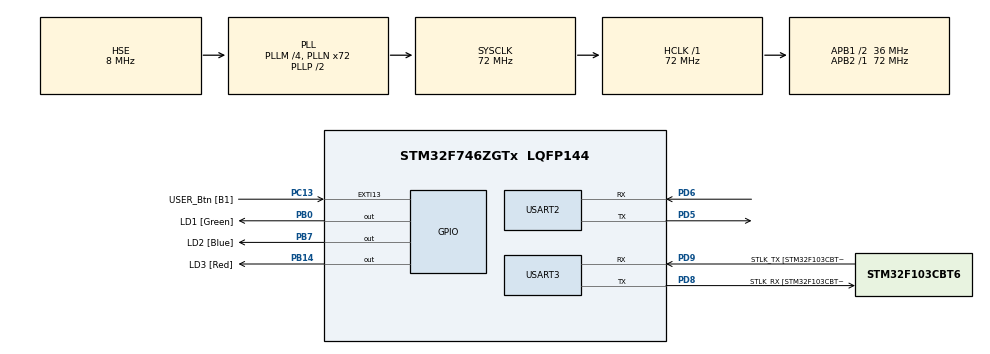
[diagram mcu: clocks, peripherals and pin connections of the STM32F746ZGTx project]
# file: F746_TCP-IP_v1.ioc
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Mcu.Family=STM32F7
Mcu.Name=STM32F746ZGTx
Mcu.Package=LQFP144
NVIC.PriorityGroup=NVIC_PRIORITYGROUP_4
PA13.GPIO_Label=TMS
PA13.Mode=Serial_Wire
PA13.Signal=SYS_JTMS-SWDIO
PA14.GPIO_Label=TCK
PA14.Mode=Serial_Wire
PA14.Signal=SYS_JTCK-SWCLK
PB0.GPIO_Label=LD1 [Green]
PB0.Signal=GPIO_Output
PB14.GPIO_Label=LD3 [Red]
PB14.Signal=GPIO_Output
PB3.GPIO_Label=SW0
PB3.Signal=SYS_JTDO-SWO
PB7.GPIO_Label=LD2 [Blue]
PB7.Signal=GPIO_Output
PC13.GPIO_Label=USER_Btn [B1]
PC13.Signal=GPXTI13
PC14/OSC32_IN.Mode=LSE-External-Oscillator
PC14/OSC32_IN.Signal=RCC_OSC32_IN
PC15/OSC32_OUT.Mode=LSE-External-Oscillator
PC15/OSC32_OUT.Signal=RCC_OSC32_OUT
PD5.Mode=Asynchronous
PD5.Signal=USART2_TX
PD6.Mode=Asynchronous
PD6.Signal=USART2_RX
PD8.GPIO_Label=STLK_RX [STM32F103CBT6_PA3]
PD8.Mode=Asynchronous
PD8.Signal=USART3_TX
PD9.GPIO_Label=STLK_TX [STM32F103CBT6_PA2]
PD9.Mode=Asynchronous
PD9.Signal=USART3_RX
PH0/OSC_IN.GPIO_Label=MCO [STM32F103CBT6_PA8]
PH0/OSC_IN.Mode=HSE-External-Clock-Source
PH0/OSC_IN.Signal=RCC_OSC_IN
PH1/OSC_OUT.Mode=HSE-External-Clock-Source
PH1/OSC_OUT.Signal=RCC_OSC_OUT
ProjectManager.HeapSize=0x200
ProjectManager.StackSize=0x400
ProjectManager.TargetToolchain=STM32CubeIDE
RCC.48MHZClocksFreq_Value=24000000
RCC.AHBFreq_Value=72000000
RCC.APB1CLKDivider=RCC_HCLK_DIV2
RCC.APB1Freq_Value=36000000
RCC.APB1TimFreq_Value=72000000
RCC.APB2Freq_Value=72000000
RCC.APB2TimFreq_Value=72000000
RCC.CortexFreq_Value=72000000
RCC.HCLKFreq_Value=72000000
RCC.HSE_VALUE=8000000
RCC.HSI_VALUE=16000000
RCC.PLLM=4
RCC.PLLMUL=RCC_PLL_MUL9
RCC.PLLN=72
RCC.PLLQ=3
RCC.PLLSourceVirtual=RCC_PLLSOURCE_HSE
RCC.PRESCALERUSB=RCC_USBCLKSOURCE_PLL_DIV1_5
RCC.SYSCLKFreq_VALUE=72000000
RCC.SYSCLKSource=RCC_SYSCLKSOURCE_PLLCLK
RCC.SYSCLKSourceVirtual=RCC_SYSCLKSOURCE_PLLCLK
RCC.USBFreq_Value=48000000
RCC.VCOOutputFreq_Value=144000000
USART2.VirtualMode-Asynchronous=VM_ASYNC
USART3.VirtualMode-Asynchronous=VM_ASYNC
board=NUCLEO-F746ZG

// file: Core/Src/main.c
/* USER CODE BEGIN Header */
/**
  ******************************************************************************
  * @file           : main.c
  * @brief          : Main program body
  ******************************************************************************
  * @attention
  *
  * <h2><center>&copy; Copyright (c) 2022 STMicroelectronics.
  * All rights reserved.</center></h2>
  *
  * This software component is licensed by ST under BSD 3-Clause license,
  * the "License"; You may not use this file except in compliance with the
  * License. You may obtain a copy of the License at:
  *                        opensource.org/licenses/BSD-3-Clause
  *
  ******************************************************************************
  */
/* USER CODE END Header */
#include "main.h"

/* USER CODE BEGIN Includes */
#include <string.h>
#include "bg95.h"
/* USER CODE END Includes */

UART_HandleTypeDef huart2;
UART_HandleTypeDef huart3;

/* USER CODE BEGIN PV */

BG95_TypeDef bg95;
uint8_t resultCode[20];

/* USER CODE END PV */

void SystemClock_Config(void);
static void MX_GPIO_Init(void);
static void MX_USART3_UART_Init(void);
static void MX_USART2_UART_Init(void);

int main(void)
{

  /* MCU Configuration--------------------------------------------------------*/

  /* Reset of all peripherals, Initializes the Flash interface and the Systick. */
  HAL_Init();

  /* Configure the system clock */
  SystemClock_Config();

  /* Initialize all configured peripherals */
  MX_GPIO_Init();
  MX_USART3_UART_Init();
  MX_USART2_UART_Init();
  /* USER CODE BEGIN 2 */

  bg95.handler = &huart2;

  memset(resultCode,'R',20);

  uint8_t invalidResponseBuffer[BUFFER_SIZE];
  //bg95.invalidResponse = invalidResponseBuffer;

  while ( resetDevice(&bg95) != 0);							// RESET DEVICE FOR FASTER DEBUGGING
  initializeApp ();											/*!< Initializes the application.	 */

  uint8_t myData = 115;
  /* USER CODE END 2 */

  /* Infinite loop */
  /* USER CODE BEGIN WHILE */
  while (1)
  {
	  socketApp ( myData );									/*!< Checks socket and sends data	 */
	  myData += 5;
	  HAL_Delay(15000);
    /* USER CODE END WHILE */

  }
}

void SystemClock_Config(void)
{
  RCC_OscInitTypeDef RCC_OscInitStruct = {0};
  RCC_ClkInitTypeDef RCC_ClkInitStruct = {0};
  RCC_PeriphCLKInitTypeDef PeriphClkInitStruct = {0};

  /** Configure LSE Drive Capability
  */
  HAL_PWR_EnableBkUpAccess();
  /** Configure the main internal regulator output voltage
  */
  __HAL_RCC_PWR_CLK_ENABLE();
  __HAL_PWR_VOLTAGESCALING_CONFIG(PWR_REGULATOR_VOLTAGE_SCALE3);
  /** Initializes the RCC Oscillators according to the specified parameters
  * in the RCC_OscInitTypeDef structure.
  */
  RCC_OscInitStruct.OscillatorType = RCC_OSCILLATORTYPE_HSE;
  RCC_OscInitStruct.HSEState = RCC_HSE_BYPASS;
  RCC_OscInitStruct.PLL.PLLState = RCC_PLL_ON;
  RCC_OscInitStruct.PLL.PLLSource = RCC_PLLSOURCE_HSE;
  RCC_OscInitStruct.PLL.PLLM = 4;
  RCC_OscInitStruct.PLL.PLLN = 72;
  RCC_OscInitStruct.PLL.PLLP = RCC_PLLP_DIV2;
  RCC_OscInitStruct.PLL.PLLQ = 3;
  if (HAL_RCC_OscConfig(&RCC_OscInitStruct) != HAL_OK)
  {
    Error_Handler();
  }
  /** Initializes the CPU, AHB and APB buses clocks
  */
  RCC_ClkInitStruct.ClockType = RCC_CLOCKTYPE_HCLK|RCC_CLOCKTYPE_SYSCLK
                              |RCC_CLOCKTYPE_PCLK1|RCC_CLOCKTYPE_PCLK2;
  RCC_ClkInitStruct.SYSCLKSource = RCC_SYSCLKSOURCE_PLLCLK;
  RCC_ClkInitStruct.AHBCLKDivider = RCC_SYSCLK_DIV1;
  RCC_ClkInitStruct.APB1CLKDivider = RCC_HCLK_DIV2;
  RCC_ClkInitStruct.APB2CLKDivider = RCC_HCLK_DIV1;

  if (HAL_RCC_ClockConfig(&RCC_ClkInitStruct, FLASH_LATENCY_2) != HAL_OK)
  {
    Error_Handler();
  }
  PeriphClkInitStruct.PeriphClockSelection = RCC_PERIPHCLK_USART2|RCC_PERIPHCLK_USART3;
  PeriphClkInitStruct.Usart2ClockSelection = RCC_USART2CLKSOURCE_PCLK1;
  PeriphClkInitStruct.Usart3ClockSelection = RCC_USART3CLKSOURCE_PCLK1;
  if (HAL_RCCEx_PeriphCLKConfig(&PeriphClkInitStruct) != HAL_OK)
  {
    Error_Handler();
  }
}

static void MX_USART2_UART_Init(void)
{

  huart2.Instance = USART2;
  huart2.Init.BaudRate = 115200;
  huart2.Init.WordLength = UART_WORDLENGTH_8B;
  huart2.Init.StopBits = UART_STOPBITS_1;
  huart2.Init.Parity = UART_PARITY_NONE;
  huart2.Init.Mode = UART_MODE_TX_RX;
  huart2.Init.HwFlowCtl = UART_HWCONTROL_NONE;
  huart2.Init.OverSampling = UART_OVERSAMPLING_16;
  huart2.Init.OneBitSampling = UART_ONE_BIT_SAMPLE_DISABLE;
  huart2.AdvancedInit.AdvFeatureInit = UART_ADVFEATURE_NO_INIT;
  if (HAL_UART_Init(&huart2) != HAL_OK)
  {
    Error_Handler();
  }

}

static void MX_USART3_UART_Init(void)
{

  huart3.Instance = USART3;
  huart3.Init.BaudRate = 115200;
  huart3.Init.WordLength = UART_WORDLENGTH_8B;
  huart3.Init.StopBits = UART_STOPBITS_1;
  huart3.Init.Parity = UART_PARITY_NONE;
  huart3.Init.Mode = UART_MODE_TX_RX;
  huart3.Init.HwFlowCtl = UART_HWCONTROL_NONE;
  huart3.Init.OverSampling = UART_OVERSAMPLING_16;
  huart3.Init.OneBitSampling = UART_ONE_BIT_SAMPLE_DISABLE;
  huart3.AdvancedInit.AdvFeatureInit = UART_ADVFEATURE_NO_INIT;
  if (HAL_UART_Init(&huart3) != HAL_OK)
  {
    Error_Handler();
  }

}

static void MX_GPIO_Init(void)
{
  GPIO_InitTypeDef GPIO_InitStruct = {0};

  /* GPIO Ports Clock Enable */
  __HAL_RCC_GPIOC_CLK_ENABLE();
  __HAL_RCC_GPIOH_CLK_ENABLE();
  __HAL_RCC_GPIOB_CLK_ENABLE();
  __HAL_RCC_GPIOD_CLK_ENABLE();
  __HAL_RCC_GPIOA_CLK_ENABLE();

  /*Configure GPIO pin Output Level */
  HAL_GPIO_WritePin(GPIOB, LD1_Pin|LD3_Pin|LD2_Pin, GPIO_PIN_RESET);

  /*Configure GPIO pin : USER_Btn_Pin */
  GPIO_InitStruct.Pin = USER_Btn_Pin;
  GPIO_InitStruct.Mode = GPIO_MODE_IT_RISING;
  GPIO_InitStruct.Pull = GPIO_NOPULL;
  HAL_GPIO_Init(USER_Btn_GPIO_Port, &GPIO_InitStruct);

  /*Configure GPIO pins : LD1_Pin LD3_Pin LD2_Pin */
  GPIO_InitStruct.Pin = LD1_Pin|LD3_Pin|LD2_Pin;
  GPIO_InitStruct.Mode = GPIO_MODE_OUTPUT_PP;
  GPIO_InitStruct.Pull = GPIO_NOPULL;
  GPIO_InitStruct.Speed = GPIO_SPEED_FREQ_LOW;
  HAL_GPIO_Init(GPIOB, &GPIO_InitStruct);

}

/* USER CODE BEGIN 4 */

void USART2_IRQHandler (void) {
	/*********** STEPS FOLLOWED *************
	1. Check that interrupt is caused by RXNE
	2. If so read the data into the array member pointed by the pointer
	3. If interrupt is not caused by RXNE (which is not expected) run the ErrorHandler
	****************************************/

	if (USART2->ISR & USART_ISR_RXNE)
	{
		bg95.RxData.buffer[bg95.RxData.head] = USART2->RDR;
		bg95.RxData.head++;
		if (bg95.RxData.head == bg95.RxData.size) bg95.RxData.head = 0; // Circular buffer
	}
	else Error_Handler();
}

void initializeApp ( void )
{
	bg95.swState = 10;
	resultCode[0] = initDevice(&bg95);

	if ( resultCode[0] != 0 )
	{
	  app_Error_Handler( &bg95, &resultCode[0] );		// AT+CFUN=1 may response ERROR
	}

	bg95.swState = 20;
	resultCode[1] = getQgmr(&bg95);
	bg95.swState = 30;
	resultCode[2] = getCsq(&bg95);

	if ( (resultCode[2] != 0) || (bg95.csq.rssi == 0x52) || (bg95.csq.rssi == 99) )		/*!< 0x52: R : default app. reset value */
	{
	  app_Error_Handler( &bg95, &resultCode[2] );		// AT+CSQ may response two different ERRORs
	}

	bg95.swState = 40;
	resultCode[3] = sendWriteReceiveAtCommandT(&bg95, "CREG", "2", (uint8_t *) "AT+CREG\0", (uint8_t *) "OK\r\n\0", 350);  /*!< Max. spec. time 300 ms */

	if ( resultCode[3] != 0 )
	{
	  app_Error_Handler( &bg95, &resultCode[3] );		// AT+CREG=2 may response ERROR
	}

	resultCode[4] = getCreg(&bg95);

	if (bg95.creg.stat != 1)
	{
	  app_Error_Handler( &bg95, NULL );				// Device may not be registered to a home network
	}

	bg95.swState = 50;
	resultCode[5] = getCops(&bg95);

	if ( resultCode[5] != 0 )
	{
	  app_Error_Handler( &bg95, &resultCode[5] );		// AT+COPS? may response ERROR
	}

	bg95.swState = 60;
	resultCode[6] = setTcpIpContext(&bg95, 1, 1, "internet", "", "", 1);

	if ( resultCode[6] != 0 )
	{
	  app_Error_Handler( &bg95, &resultCode[6] );		// AT+QICSGP=... may response ERROR
	}

	/*! Activate PDP context with ID 1 				*/
	/*! Max. spec. time 150 s 						*/
	bg95.swState = 61;
	resultCode[7] = sendWriteReceiveAtCommandT(&bg95, "QIACT", "1", (uint8_t *) "AT+QIACT\0", (uint8_t *) "OK\r\n\0", 4000);

	if ( resultCode[7] != 0 )
	{
	  app_Error_Handler( &bg95, &resultCode[7] );		// AT+QIACT=1 may response ERROR
	}

	bg95.swState = 62;
	resultCode[8] = getQiact(&bg95);
	uint8_t size = strlen((char*)bg95.qiact.ip);
	uint8_t count = 0;
	for (int i=0; i<size; i++) if(bg95.qiact.ip[i] == 0x2E) count++; // 0x2E: .

	if( ( count != 3 ) || ( bg95.qiact.ip[0] == 0 ) || ( bg95.qiact.cState != 1 ) )
	{
	  app_Error_Handler( &bg95, NULL );				// IP may be unvalid or connection may not be established
	}
}

void socketApp ( uint8_t data )
{
	/*! Check for Internet connection. Check IP.			*/
	bg95.swState = 63;
	resultCode[8] = getQiact(&bg95);
	uint8_t size = strlen((char*)bg95.qiact.ip);
	uint8_t count = 0;
	for (int i=0; i<size; i++) if(bg95.qiact.ip[i] == 0x2E) count++; // 0x2E: .

	if( ( count != 3 ) || ( bg95.qiact.ip[0] == 0 ) || ( bg95.qiact.cState != 1 ) )
	{
		app_Error_Handler( &bg95, NULL );				// IP may be unvalid or connection may not be established
	}
	// Error handler activated the PDP context if it was not activated.

	/*! Open socket service.									*/
	bg95.swState = 70;
	resultCode[9] = openSocketService(&bg95, 1, 0, "TCP", "184.106.153.149", 80, 0, 1);

	if ( resultCode[9] != 0 )
	{
		app_Error_Handler( &bg95, &resultCode[9] );		// AT+QIOPEN=... ; <result> check needed for fault, ERROR may come too
	}

	/*! Check socket service.									*/
	// More stuff here...
	// AT+QISTATE=1,0	// 0 is the connectId of the socket

	/*! Send data through socket and verify with the response.	*/
	// More stuff here... detailed response verifying needed.
	volatile const uint8_t testVar = 0U;
	resultCode[10] = sendSocket(&bg95, testVar, data); // 0: bg95.qiact.cId

	if ( resultCode[10] != 0 )
	{
		app_Error_Handler( &bg95, &resultCode[10] );	// AFTER AT+SEND=0 and sending data, device may response SEND FAIL AND ERROR
	}
	//..

	/*! Close the socket service.								*/
	resultCode[11] = sendWriteReceiveAtCommandT(&bg95, "QICLOSE", "0,0", (uint8_t *) "AT+QICLOSE\0", (uint8_t *) "OK\r\n\0", 2000);
	if ( resultCode[11] != 0 )
	{
		app_Error_Handler( &bg95, &resultCode[11] );	// AFTER AT+QICLOSE=... device may response ERROR
	}

}

/* USER CODE END 4 */

void Error_Handler(void)
{
  __disable_irq();
  while (1)
  {
  }
}

/************************ (C) COPYRIGHT STMicroelectronics *****END OF FILE****/
